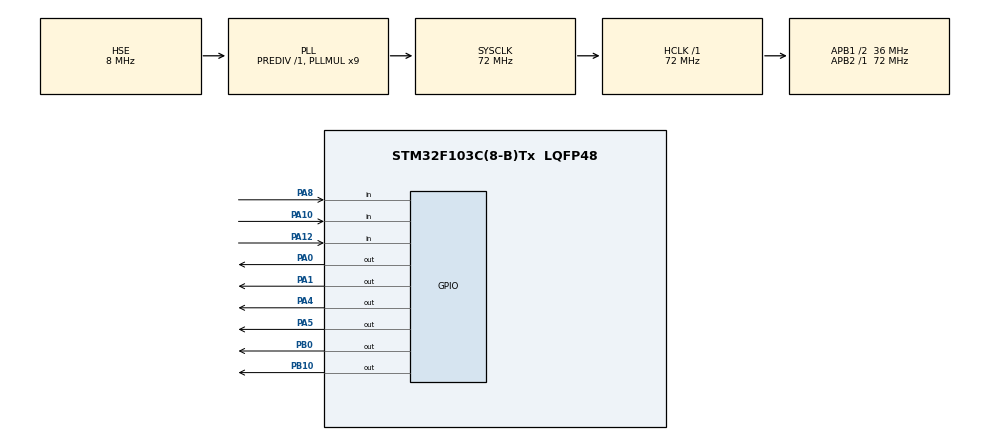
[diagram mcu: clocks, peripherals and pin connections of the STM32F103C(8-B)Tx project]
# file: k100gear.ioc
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Mcu.Family=STM32F1
Mcu.Name=STM32F103C(8-B)Tx
Mcu.Package=LQFP48
NVIC.PriorityGroup=NVIC_PRIORITYGROUP_4
PA0-WKUP.Signal=GPIO_Output
PA1.Signal=GPIO_Output
PA10.Signal=GPIO_Input
PA12.Signal=GPIO_Input
PA13.Mode=Serial_Wire
PA13.Signal=SYS_JTMS-SWDIO
PA14.Mode=Serial_Wire
PA14.Signal=SYS_JTCK-SWCLK
PA4.Signal=GPIO_Output
PA5.Signal=GPIO_Output
PA8.Signal=GPIO_Input
PB0.Signal=GPIO_Output
PB10.Signal=GPIO_Output
PD0-OSC_IN.Mode=HSE-External-Oscillator
PD0-OSC_IN.Signal=RCC_OSC_IN
PD1-OSC_OUT.Mode=HSE-External-Oscillator
PD1-OSC_OUT.Signal=RCC_OSC_OUT
ProjectManager.HeapSize=0x200
ProjectManager.StackSize=0x400
ProjectManager.TargetToolchain=SW4STM32
RCC.AHBFreq_Value=72000000
RCC.APB1CLKDivider=RCC_HCLK_DIV2
RCC.APB1Freq_Value=36000000
RCC.APB1TimFreq_Value=72000000
RCC.APB2Freq_Value=72000000
RCC.APB2TimFreq_Value=72000000
RCC.HCLKFreq_Value=72000000
RCC.PLLMUL=RCC_PLL_MUL9
RCC.PLLSourceVirtual=RCC_PLLSOURCE_HSE
RCC.SYSCLKFreq_VALUE=72000000
RCC.SYSCLKSource=RCC_SYSCLKSOURCE_PLLCLK
RCC.USBFreq_Value=72000000
board=custom

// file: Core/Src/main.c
/* USER CODE BEGIN Header */
/**
  ******************************************************************************
  * @file           : main.c
  * @brief          : Main program body
  ******************************************************************************
  * @attention
  *
  * <h2><center>&copy; Copyright (c) 2021 STMicroelectronics.
  * All rights reserved.</center></h2>
  *
  * This software component is licensed by ST under BSD 3-Clause license,
  * the "License"; You may not use this file except in compliance with the
  * License. You may obtain a copy of the License at:
  *                        opensource.org/licenses/BSD-3-Clause
  *
  ******************************************************************************
  */
/* USER CODE END Header */
#include "main.h"

void SystemClock_Config(void);

static void MX_GPIO_Init(void);

int main(void) {

    /* MCU Configuration--------------------------------------------------------*/

    /* Reset of all peripherals, Initializes the Flash interface and the Systick. */
    HAL_Init();

    /* Configure the system clock */
    SystemClock_Config();

    /* Initialize all configured peripherals */
    MX_GPIO_Init();

    /* Infinite loop */
    while (1) {

        /* USER CODE BEGIN 3 */
        const unsigned char option1 = 0x01;
        const unsigned char option2 = 0x02;
        const unsigned char option3 = 0x04;
        uint8_t gear = 0;
        //if (HAL_GPIO_ReadPin(GPIOA, GPIO_PIN_8) == GPIO_PIN_SET) {
        if (1) {
            gear |= option1;
        } else {
            gear &= ~option1;
        }
        // if (HAL_GPIO_ReadPin(GPIOA, GPIO_PIN_10) == GPIO_PIN_SET) {
        if (0) {
            gear |= option2;
        } else {
            gear &= ~option2;
        }
        //if (HAL_GPIO_ReadPin(GPIOA, GPIO_PIN_12) == GPIO_PIN_SET) {
        if (1) {
            gear |= option3;
        } else {
            gear &= ~option3;
        }
        //b10 b0 a5 a4 a1 a0
        switch (gear) {
            case 0://нейтраль
                HAL_GPIO_WritePin(GPIOB, GPIO_PIN_10, GPIO_PIN_SET);
                HAL_GPIO_WritePin(GPIOB, GPIO_PIN_0, GPIO_PIN_RESET);
                HAL_GPIO_WritePin(GPIOA, GPIO_PIN_5, GPIO_PIN_RESET);
                HAL_GPIO_WritePin(GPIOA, GPIO_PIN_4, GPIO_PIN_RESET);
                HAL_GPIO_WritePin(GPIOA, GPIO_PIN_1, GPIO_PIN_RESET);
                HAL_GPIO_WritePin(GPIOA, GPIO_PIN_0, GPIO_PIN_RESET);
                break;
            case 4://1
                HAL_GPIO_WritePin(GPIOB, GPIO_PIN_10, GPIO_PIN_RESET);
                HAL_GPIO_WritePin(GPIOB, GPIO_PIN_0, GPIO_PIN_SET);
                HAL_GPIO_WritePin(GPIOA, GPIO_PIN_5, GPIO_PIN_RESET);
                HAL_GPIO_WritePin(GPIOA, GPIO_PIN_4, GPIO_PIN_RESET);
                HAL_GPIO_WritePin(GPIOA, GPIO_PIN_1, GPIO_PIN_RESET);
                HAL_GPIO_WritePin(GPIOA, GPIO_PIN_0, GPIO_PIN_RESET);
                break;
            case 2://2
                HAL_GPIO_WritePin(GPIOB, GPIO_PIN_10, GPIO_PIN_RESET);
                HAL_GPIO_WritePin(GPIOB, GPIO_PIN_0, GPIO_PIN_RESET);
                HAL_GPIO_WritePin(GPIOA, GPIO_PIN_5, GPIO_PIN_SET);
                HAL_GPIO_WritePin(GPIOA, GPIO_PIN_4, GPIO_PIN_RESET);
                HAL_GPIO_WritePin(GPIOA, GPIO_PIN_1, GPIO_PIN_RESET);
                HAL_GPIO_WritePin(GPIOA, GPIO_PIN_0, GPIO_PIN_RESET);
                break;
            case 6://3
                HAL_GPIO_WritePin(GPIOB, GPIO_PIN_10, GPIO_PIN_RESET);
                HAL_GPIO_WritePin(GPIOB, GPIO_PIN_0, GPIO_PIN_RESET);
                HAL_GPIO_WritePin(GPIOA, GPIO_PIN_5, GPIO_PIN_RESET);
                HAL_GPIO_WritePin(GPIOA, GPIO_PIN_4, GPIO_PIN_SET);
                HAL_GPIO_WritePin(GPIOA, GPIO_PIN_1, GPIO_PIN_RESET);
                HAL_GPIO_WritePin(GPIOA, GPIO_PIN_0, GPIO_PIN_RESET);
                break;
            case 1://4
                HAL_GPIO_WritePin(GPIOB, GPIO_PIN_10, GPIO_PIN_RESET);
                HAL_GPIO_WritePin(GPIOB, GPIO_PIN_0, GPIO_PIN_RESET);
                HAL_GPIO_WritePin(GPIOA, GPIO_PIN_5, GPIO_PIN_RESET);
                HAL_GPIO_WritePin(GPIOA, GPIO_PIN_4, GPIO_PIN_RESET);
                HAL_GPIO_WritePin(GPIOA, GPIO_PIN_1, GPIO_PIN_SET);
                HAL_GPIO_WritePin(GPIOA, GPIO_PIN_0, GPIO_PIN_RESET);
                break;
            case 5://5
                HAL_GPIO_WritePin(GPIOB, GPIO_PIN_10, GPIO_PIN_RESET);
                HAL_GPIO_WritePin(GPIOB, GPIO_PIN_0, GPIO_PIN_RESET);
                HAL_GPIO_WritePin(GPIOA, GPIO_PIN_5, GPIO_PIN_RESET);
                HAL_GPIO_WritePin(GPIOA, GPIO_PIN_4, GPIO_PIN_RESET);
                HAL_GPIO_WritePin(GPIOA, GPIO_PIN_1, GPIO_PIN_RESET);
                HAL_GPIO_WritePin(GPIOA, GPIO_PIN_0, GPIO_PIN_SET);
                break;
            default:
                HAL_GPIO_WritePin(GPIOB, GPIO_PIN_10, GPIO_PIN_RESET);
                HAL_GPIO_WritePin(GPIOB, GPIO_PIN_0, GPIO_PIN_RESET);
                HAL_GPIO_WritePin(GPIOA, GPIO_PIN_5, GPIO_PIN_RESET);
                HAL_GPIO_WritePin(GPIOA, GPIO_PIN_4, GPIO_PIN_RESET);
                HAL_GPIO_WritePin(GPIOA, GPIO_PIN_1, GPIO_PIN_RESET);
                HAL_GPIO_WritePin(GPIOA, GPIO_PIN_0, GPIO_PIN_RESET);
                break;

        }

    }
    /* USER CODE END 3 */
}

void SystemClock_Config(void) {
    RCC_OscInitTypeDef RCC_OscInitStruct = {0};
    RCC_ClkInitTypeDef RCC_ClkInitStruct = {0};

    /** Initializes the RCC Oscillators according to the specified parameters
    * in the RCC_OscInitTypeDef structure.
    */
    RCC_OscInitStruct.OscillatorType = RCC_OSCILLATORTYPE_HSE;
    RCC_OscInitStruct.HSEState = RCC_HSE_ON;
    RCC_OscInitStruct.HSEPredivValue = RCC_HSE_PREDIV_DIV1;
    RCC_OscInitStruct.HSIState = RCC_HSI_ON;
    RCC_OscInitStruct.PLL.PLLState = RCC_PLL_ON;
    RCC_OscInitStruct.PLL.PLLSource = RCC_PLLSOURCE_HSE;
    RCC_OscInitStruct.PLL.PLLMUL = RCC_PLL_MUL9;
    if (HAL_RCC_OscConfig(&RCC_OscInitStruct) != HAL_OK) {
        Error_Handler();
    }
    /** Initializes the CPU, AHB and APB buses clocks
    */
    RCC_ClkInitStruct.ClockType = RCC_CLOCKTYPE_HCLK | RCC_CLOCKTYPE_SYSCLK
                                  | RCC_CLOCKTYPE_PCLK1 | RCC_CLOCKTYPE_PCLK2;
    RCC_ClkInitStruct.SYSCLKSource = RCC_SYSCLKSOURCE_PLLCLK;
    RCC_ClkInitStruct.AHBCLKDivider = RCC_SYSCLK_DIV1;
    RCC_ClkInitStruct.APB1CLKDivider = RCC_HCLK_DIV2;
    RCC_ClkInitStruct.APB2CLKDivider = RCC_HCLK_DIV1;

    if (HAL_RCC_ClockConfig(&RCC_ClkInitStruct, FLASH_LATENCY_2) != HAL_OK) {
        Error_Handler();
    }
}

static void MX_GPIO_Init(void) {
    GPIO_InitTypeDef GPIO_InitStruct = {0};

    /* GPIO Ports Clock Enable */
    __HAL_RCC_GPIOD_CLK_ENABLE();
    __HAL_RCC_GPIOA_CLK_ENABLE();
    __HAL_RCC_GPIOB_CLK_ENABLE();

    /*Configure GPIO pin Output Level */
    HAL_GPIO_WritePin(GPIOA, GPIO_PIN_0 | GPIO_PIN_1 | GPIO_PIN_4 | GPIO_PIN_5, GPIO_PIN_RESET);

    /*Configure GPIO pin Output Level */
    HAL_GPIO_WritePin(GPIOB, GPIO_PIN_0 | GPIO_PIN_10, GPIO_PIN_RESET);

    /*Configure GPIO pins : PA0 PA1 PA4 PA5 */
    GPIO_InitStruct.Pin = GPIO_PIN_0 | GPIO_PIN_1 | GPIO_PIN_4 | GPIO_PIN_5;
    GPIO_InitStruct.Mode = GPIO_MODE_OUTPUT_PP;
    GPIO_InitStruct.Pull = GPIO_NOPULL;
    GPIO_InitStruct.Speed = GPIO_SPEED_FREQ_LOW;
    HAL_GPIO_Init(GPIOA, &GPIO_InitStruct);

    /*Configure GPIO pins : PB0 PB10 */
    GPIO_InitStruct.Pin = GPIO_PIN_0 | GPIO_PIN_10;
    GPIO_InitStruct.Mode = GPIO_MODE_OUTPUT_PP;
    GPIO_InitStruct.Pull = GPIO_NOPULL;
    GPIO_InitStruct.Speed = GPIO_SPEED_FREQ_LOW;
    HAL_GPIO_Init(GPIOB, &GPIO_InitStruct);

    /*Configure GPIO pins : PA8 PA10 PA12 */
    GPIO_InitStruct.Pin = GPIO_PIN_8 | GPIO_PIN_10 | GPIO_PIN_12;
    GPIO_InitStruct.Mode = GPIO_MODE_INPUT;
    GPIO_InitStruct.Pull = GPIO_NOPULL;
    HAL_GPIO_Init(GPIOA, &GPIO_InitStruct);

}

void Error_Handler(void) {
    __disable_irq();
    while (1) {
    }
}

/************************ (C) COPYRIGHT STMicroelectronics *****END OF FILE****/
